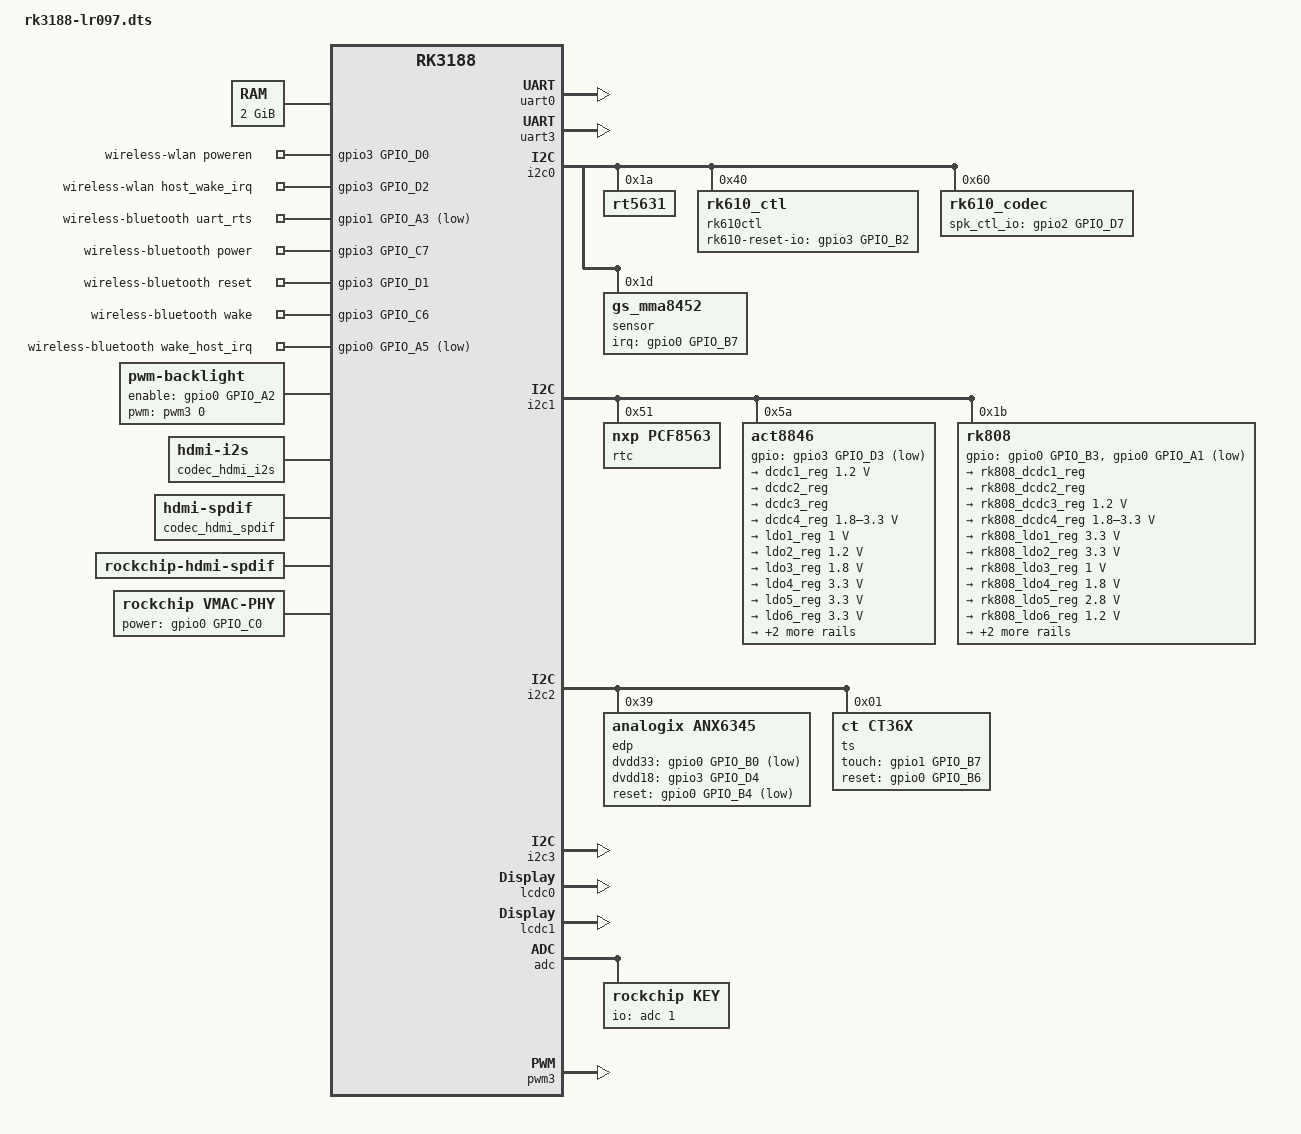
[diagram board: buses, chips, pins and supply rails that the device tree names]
/dts-v1/;

#include "rk3188.dtsi"
#include "lcd-LP097Qx1.dtsi"

/ {
	memory {
		device_type = "memory";
		reg = <0x60000000 0x80000000>;
	};

	chosen {
		bootargs = "clk_ignore_unused";
	};

	fiq-debugger {
		status = "okay";
	};

    wireless-wlan {
        compatible = "wlan-platdata";

        wifi_chip_type = "";
        sdio_vref = <28000>;

        //power_ctrl_by_pmu;
        pmu_regulator = "act_ldo3";
        pmu_enable_level = <1>; //1->HIGH, 0->LOW

        WIFI,poweren_gpio = <&gpio3 GPIO_D0 GPIO_ACTIVE_HIGH>;
        WIFI,host_wake_irq = <&gpio3 GPIO_D2 GPIO_ACTIVE_HIGH>;
        //WIFI,reset_gpio = <&gpio0 GPIO_A2 GPIO_ACTIVE_LOW>;

        status = "okay";
    };

    wireless-bluetooth {
        compatible = "bluetooth-platdata";

        support_uart_rts_ctrl;
        uart_rts_gpios = <&gpio1 GPIO_A3 GPIO_ACTIVE_LOW>;
        pinctrl-names = "default";
        pinctrl-0 = <&uart0_rts>;

        BT,power_gpio = <&gpio3 GPIO_C7 GPIO_ACTIVE_HIGH>;
        BT,reset_gpio = <&gpio3 GPIO_D1 GPIO_ACTIVE_HIGH>;
        BT,wake_gpio = <&gpio3 GPIO_C6 GPIO_ACTIVE_HIGH>;
        BT,wake_host_irq = <&gpio0 GPIO_A5 GPIO_ACTIVE_LOW>;

        status = "okay";
    };

	backlight {
        	compatible = "pwm-backlight";
	        pwms = <&pwm3 0 25000>;
		brightness-levels = <0 1 2 3 4 5 6 7 8 9 10 11 12 13 14 15 16 17 18 19 20 21 22 23 24 25 26 27 28 29 30 31 32 33 34 35 36 37 38 39 40 41 42 43 44 45 46 47 48 49 50 51 52 53 54 55 56 57 58 59 60 61 62 63 64 65 66 67 68 69 70 71 72 73 74 75 76 77 78 79 80 81 82 83 84 85 86 87 88 89 90 91 92 93 94 95 96 97 98 99 100 101 102 103 104 105 106 107 108 109 110 111 112 113 114 115 116 117 118 119 120 121 122 123 124 125 126 127 128 129 130 131 132 133 134 135 136 137 138 139 140 141 142 143 144 145 146 147 148 149 150 151 152 153 154 155 156 157 158 159 160 161 162 163 164 165 166 167 168 169 170 171 172 173 174 175 176 177 178 179 180 181 182 183 184 185 186 187 188 189 190 191 192 193 194 195 196 197 198 199 200 201 202 203 204 205 206 207 208 209 210 211 212 213 214 215 216 217 218 219 220 221 222 223 224 225 226 227 228 229 230 231 232 233 234 235 236 237 238 239 240 241 242 243 244 245 246 247 248 249 250 251 252 253 254 255>;
	        default-brightness-level = <128>;
		enable-gpios = <&gpio0 GPIO_A2 GPIO_ACTIVE_HIGH>;
	};

	codec_hdmi_i2s: codec-hdmi-i2s {
		compatible = "hdmi-i2s";
	};

	codec_hdmi_spdif: codec-hdmi-spdif {
		compatible = "hdmi-spdif";
	};

	rockchip-rt5631 {
		compatible = "rockchip-rt5631";
		dais {
			dai0 {
				audio-codec = <&rt5631>;
				audio-controller = <&i2s0>;
				format = "i2s";
				//continuous-clock;
				//bitclock-inversion;
				//frame-inversion;
				//bitclock-master;
				//frame-master;
			};
		};
	};

	rockchip-rk610 {
		compatible = "rockchip-rk610";
		dais {
			dai0 {
				audio-codec = <&rk610_codec>;
				audio-controller = <&i2s0>;
				format = "i2s";
				//continuous-clock;
				//bitclock-inversion;
				//frame-inversion;
				//bitclock-master;
				//frame-master;
			};
		};
	};

	rockchip-hdmi-i2s {
		compatible = "rockchip-hdmi-i2s";
		dais {
			dai0 {
				audio-codec = <&codec_hdmi_i2s>;
				audio-controller = <&i2s0>;
				format = "i2s";
				//continuous-clock;
				//bitclock-inversion;
				//frame-inversion;
				//bitclock-master;
				//frame-master;
			};
		};
	};

	rockchip-hdmi-spdif {
		compatible = "rockchip-hdmi-spdif";
	};
	
	vmac-phy {
		compatible = "rockchip,vmac-phy";
		power-gpios = <&gpio0 GPIO_C0 GPIO_ACTIVE_HIGH>;
	};
};

&uart0 {
	status = "okay";
	dma-names = "!tx", "!rx";
};


&uart3 {
	status = "okay";
	dma-names = "!tx", "!rx";
};

&watchdog {
		rockchip,timeout = <50>;
		rockchip,debug = <1>;
		status = "disabled";
};

&i2c0 {
	status = "okay";
	rt5631: rt5631@1a {
		compatible = "rt5631";
		reg = <0x1a>;
	};

	rk610ctl@40 {
		compatible = "rk610_ctl";
		reg = <0x40>;
		rk610-reset-io = <&gpio3 GPIO_B2 GPIO_ACTIVE_HIGH>;
		clocks = <&clk_i2s>;
		clock-names = "i2s_clk";
	};

	rk610_codec: rk610codec@60 {//RK610_CODEC addr  from 0x60 to 0x80 (0x60~0x80)
		compatible = "rk610_codec";
		reg = <0x60>;
		spk_ctl_io = <&gpio2 GPIO_D7 GPIO_ACTIVE_HIGH>;
		boot_depop = <1>;
		pa_enable_time = <1000>;
	};

	sensor@1d {
		compatible = "gs_mma8452";
		reg = <0x1d>;
		type = <SENSOR_TYPE_ACCEL>;
		irq-gpio = <&gpio0 GPIO_B7 IRQ_TYPE_EDGE_FALLING>;		
		irq_enable = <1>;
		poll_delay_ms = <30>;
		layout = <1>;
	};
};

&i2c1 {
	status = "okay";
	rtc@51 {
		compatible = "nxp,pcf8563";
		reg = <0x51>;
	};
	
	act8846: act8846@5a {
		reg = <0x5a>;
		status = "okay";
	};
	rk808: rk808@1b {
		reg = <0x1b>;
		status = "okay";
	};
};

&i2c2 {
	status = "okay";
	edp@39 {
		compatible = "analogix,anx6345";
		reg = <0x39>;
		dvdd33-gpio = <&gpio0 GPIO_B0 GPIO_ACTIVE_LOW>;
		dvdd18-gpio = <&gpio3 GPIO_D4 GPIO_ACTIVE_HIGH>;
		reset-gpio = <&gpio0 GPIO_B4 GPIO_ACTIVE_LOW>;
	};

       ts@01 {
		compatible = "ct,ct36x";
		reg = <0x01>;
		ct-model = <363>;
		touch-gpio = <&gpio1 GPIO_B7 IRQ_TYPE_LEVEL_LOW>;
		reset-gpio = <&gpio0 GPIO_B6 GPIO_ACTIVE_HIGH>;
		max-x = <2048>;
		max-y = <1536>;
		orientation=<1 0 0 1>;
       };
};

&i2c3 {
	status = "okay";
};

&fb {
	rockchip,disp-mode = <DUAL>;
};

&rk_screen {
         display-timings = <&disp_timings>;
};

&lcdc0 {
	status = "okay";
};

&lcdc1 {
	status = "okay";
};

&adc {
        status = "okay";

        key {
                compatible = "rockchip,key";
                io-channels = <&adc 1>;

                vol-up-key {
                        linux,code = <115>;
                        label = "volume up";
                        rockchip,adc_value = <1>;
                };

                vol-down-key {
                        linux,code = <114>;
                        label = "volume down";
                        rockchip,adc_value = <145>;
                };

                power-key {
                        gpios = <&gpio0 GPIO_A4 GPIO_ACTIVE_LOW>;
                        linux,code = <116>;
                        label = "power";
                        gpio-key,wakeup;
                };


                home-key {
                        linux,code = <102>;
                        label = "home";
                        rockchip,adc_value = <355>;
                };

        };
};

&pwm3 {
        status = "okay";
};

&clk_core_dvfs_table {
	operating-points = <
		/* KHz    uV */
		312000 1100000
		504000 1100000
		816000 1100000
		1008000 1100000
		1200000 1200000
		1416000 1300000
		1608000 1350000
		>;
};

&clk_gpu_dvfs_table {
	operating-points = <
		/* KHz    uV */
		200000 1200000
		300000 1200000
		400000 1200000
		>;
};

&clk_ddr_dvfs_table {
	operating-points = <
		/* KHz    uV */
		200000 1200000
		300000 1200000
		400000 1200000
		>;

	freq_table = <
		/*status		freq(KHz)*/
		SYS_STATUS_NORMAL	400000
		SYS_STATUS_SUSPEND	200000
		SYS_STATUS_VIDEO	300000
		SYS_STATUS_DUALVIEW	500000
		>;
};

/include/ "act8846.dtsi"
&act8846 {
	gpios =<&gpio3 GPIO_D3 GPIO_ACTIVE_LOW>; 

regulators {
		
		 dcdc1_reg: regulator@0{
			regulator-name= "act_dcdc1";
			regulator-min-microvolt = <1200000>;
			regulator-max-microvolt = <1200000>;
			regulator-always-on;
			regulator-boot-on;
		};

		dcdc2_reg: regulator@1 {
			regulator-name= "vdd_logic";
			regulator-always-on;
			regulator-boot-on;			
		};

		dcdc3_reg: regulator@2 {
			regulator-name= "vdd_arm";
			regulator-always-on;
			regulator-boot-on;
		};

		dcdc4_reg: regulator@3 {
			regulator-name= "vccio";
			regulator-min-microvolt = <1800000>;
			regulator-max-microvolt = <3300000>;
			regulator-always-on;
			regulator-boot-on;
		};

		ldo1_reg: regulator@4 {
			regulator-name= "act_ldo1";
			regulator-min-microvolt = <1000000>;
			regulator-max-microvolt = <1000000>;
			regulator-always-on;
			regulator-boot-on;
		};

		ldo2_reg: regulator@5 {
			regulator-name= "act_ldo2";
			regulator-min-microvolt = <1200000>;
			regulator-max-microvolt = <1200000>;
			regulator-always-on;
			regulator-boot-on;
		};

		ldo3_reg: regulator@6 {
			regulator-name= "act_ldo3";
			regulator-min-microvolt = <1800000>;
			regulator-max-microvolt = <1800000>;
			regulator-always-on;
			regulator-boot-on;
		};

		ldo4_reg:regulator@7 {
			regulator-name= "act_ldo4";
			regulator-min-microvolt = <3300000>;
			regulator-max-microvolt = <3300000>;
			regulator-always-on;
			regulator-boot-on;
		};

		ldo5_reg: regulator@8 {
			regulator-name= "act_ldo5";
			regulator-min-microvolt = <3300000>;
			regulator-max-microvolt = <3300000>;
			regulator-always-on;
			regulator-boot-on;
		};

		ldo6_reg: regulator@9 {
			regulator-name= "act_ldo6";
			regulator-min-microvolt = <3300000>;
			regulator-max-microvolt = <3300000>;
			regulator-always-on;
			regulator-boot-on;
		};

		ldo7_reg: regulator@10 {
			regulator-name= "act_ldo7";
			regulator-min-microvolt = <1800000>;
			regulator-max-microvolt = <1800000>;
			regulator-always-on;
			regulator-boot-on;
		};

		ldo8_reg: regulator@11 {
			regulator-name= "act_ldo8";
			regulator-min-microvolt = <2800000>;
			regulator-max-microvolt = <2800000>;
			regulator-always-on;
			regulator-boot-on;
		};
	};
};
/include/ "rk808.dtsi"
&rk808{
	gpios =<&gpio0 GPIO_B3 GPIO_ACTIVE_HIGH>,<&gpio0 GPIO_A1 GPIO_ACTIVE_LOW>; 

regulators {
		
		 rk808_dcdc1_reg: regulator@0{
			regulator-name= "vdd_arm";	
			regulator-always-on;
			regulator-boot-on;
		};

		rk808_dcdc2_reg: regulator@1 {
			regulator-name= "vdd_logic";
			regulator-always-on;
			regulator-boot-on;		
		};

		rk808_dcdc3_reg: regulator@2 {
			regulator-name= "rk_dcdc3";
			regulator-min-microvolt = <1200000>;
			regulator-max-microvolt = <1200000>;
			regulator-always-on;
			regulator-boot-on;
		};

		rk808_dcdc4_reg: regulator@3 {
			regulator-name= "vccio";
			regulator-min-microvolt = <1800000>;
			regulator-max-microvolt = <3300000>;
			regulator-always-on;
			regulator-boot-on;
		};

		rk808_ldo1_reg: regulator@4 {
			regulator-name= "rk_ldo1";
			regulator-min-microvolt = <3300000>;
			regulator-max-microvolt = <3300000>;
			regulator-always-on;
			regulator-boot-on;
		};

		rk808_ldo2_reg: regulator@5 {
			regulator-name= "rk_ldo2";
			regulator-min-microvolt = <3300000>;
			regulator-max-microvolt = <3300000>;
			regulator-always-on;
			regulator-boot-on;
		};

		rk808_ldo3_reg: regulator@6 {
			regulator-name= "rk_ldo3";
			regulator-min-microvolt = <1000000>;
			regulator-max-microvolt = <1000000>;
			regulator-always-on;
			regulator-boot-on;
		};

		rk808_ldo4_reg:regulator@7 {
			regulator-name= "rk_ldo4";
			regulator-min-microvolt = <1800000>;
			regulator-max-microvolt = <1800000>;
			regulator-always-on;
			regulator-boot-on;
		};

		rk808_ldo5_reg: regulator@8 {
			regulator-name= "rk_ldo5";
			regulator-min-microvolt = <2800000>;
			regulator-max-microvolt = <2800000>;
			regulator-always-on;
			regulator-boot-on;
		};

		rk808_ldo6_reg: regulator@9 {
			regulator-name= "rk_ldo6";
			regulator-min-microvolt = <1200000>;
			regulator-max-microvolt = <1200000>;
			regulator-always-on;
			regulator-boot-on;
		};

		rk808_ldo7_reg: regulator@10 {
			regulator-name= "rk_ldo7";
			regulator-min-microvolt = <1800000>;
			regulator-max-microvolt = <1800000>;
			regulator-always-on;
			regulator-boot-on;
		};

		rk808_ldo8_reg: regulator@11 {
			regulator-name= "rk_ldo8";
			regulator-min-microvolt = <1800000>;
			regulator-max-microvolt = <1800000>;
			regulator-always-on;
			regulator-boot-on;
		};
	};
};


